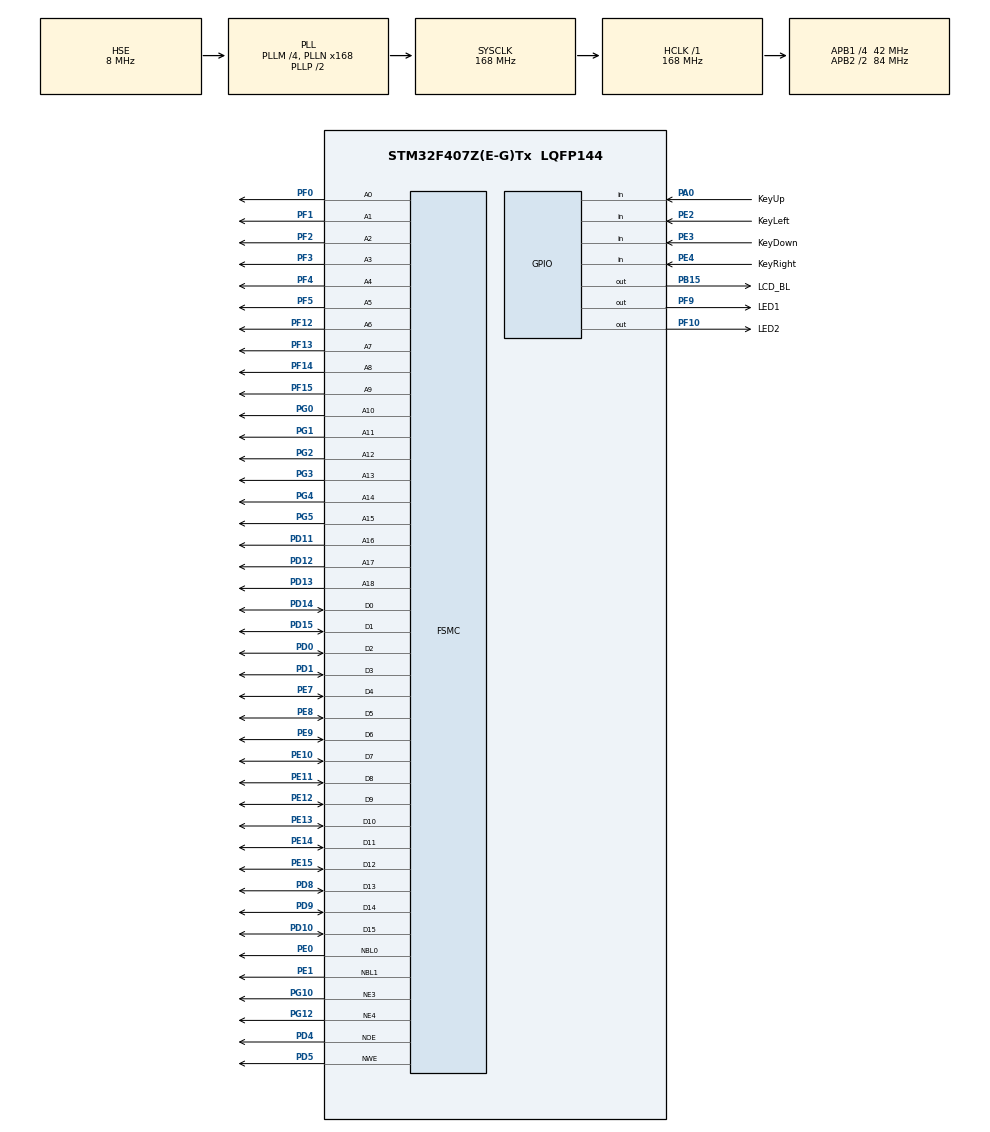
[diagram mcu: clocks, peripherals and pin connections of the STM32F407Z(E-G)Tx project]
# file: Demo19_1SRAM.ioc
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FSMC.AddressSetupTime3=0
FSMC.AddressSetupTime4=2
FSMC.BusTurnAroundDuration3=0
FSMC.BusTurnAroundDuration4=0
FSMC.DataSetupTime3=8
FSMC.DataSetupTime4=16
FSMC.ExtendedAddressSetupTime4=4
FSMC.ExtendedBusTurnAroundDuration4=0
FSMC.ExtendedDataSetupTime4=9
FSMC.ExtendedMode4=FSMC_EXTENDED_MODE_ENABLE
FSMC.WriteOperation3=FSMC_WRITE_OPERATION_ENABLE
Mcu.Family=STM32F4
Mcu.Name=STM32F407Z(E-G)Tx
Mcu.Package=LQFP144
NVIC.PriorityGroup=NVIC_PRIORITYGROUP_4
PA0-WKUP.GPIO_Label=KeyUp
PA0-WKUP.GPIO_PuPd=GPIO_PULLDOWN
PA0-WKUP.Signal=GPIO_Input
PA13.Mode=Serial_Wire
PA13.Signal=SYS_JTMS-SWDIO
PA14.Mode=Serial_Wire
PA14.Signal=SYS_JTCK-SWCLK
PB15.GPIO_Label=LCD_BL
PB15.PinState=GPIO_PIN_RESET
PB15.Signal=GPIO_Output
PD0.Signal=FSMC_D2_DA2
PD1.Signal=FSMC_D3_DA3
PD10.Signal=FSMC_D15_DA15
PD11.Signal=FSMC_A16_CLE
PD12.Signal=FSMC_A17_ALE
PD13.Signal=FSMC_A18
PD14.Signal=FSMC_D0_DA0
PD15.Signal=FSMC_D1_DA1
PD4.Signal=FSMC_NOE
PD5.Signal=FSMC_NWE
PD8.Signal=FSMC_D13_DA13
PD9.Signal=FSMC_D14_DA14
PE0.Signal=FSMC_NBL0
PE1.Signal=FSMC_NBL1
PE10.Signal=FSMC_D7_DA7
PE11.Signal=FSMC_D8_DA8
PE12.Signal=FSMC_D9_DA9
PE13.Signal=FSMC_D10_DA10
PE14.Signal=FSMC_D11_DA11
PE15.Signal=FSMC_D12_DA12
PE2.GPIO_Label=KeyLeft
PE2.GPIO_PuPd=GPIO_PULLUP
PE2.Signal=GPIO_Input
PE3.GPIO_Label=KeyDown
PE3.GPIO_PuPd=GPIO_PULLUP
PE3.Signal=GPIO_Input
PE4.GPIO_Label=KeyRight
PE4.GPIO_PuPd=GPIO_PULLUP
PE4.Signal=GPIO_Input
PE7.Signal=FSMC_D4_DA4
PE8.Signal=FSMC_D5_DA5
PE9.Signal=FSMC_D6_DA6
PF0.Signal=FSMC_A0
PF1.Signal=FSMC_A1
PF10.GPIO_Label=LED2
PF10.Signal=GPIO_Output
PF12.Signal=FSMC_A6
PF13.Signal=FSMC_A7
PF14.Signal=FSMC_A8
PF15.Signal=FSMC_A9
PF2.Signal=FSMC_A2
PF3.Signal=FSMC_A3
PF4.Signal=FSMC_A4
PF5.Signal=FSMC_A5
PF9.GPIO_Label=LED1
PF9.Signal=GPIO_Output
PG0.Signal=FSMC_A10
PG1.Signal=FSMC_A11
PG10.Mode=NorPsramChipSelect3_3
PG10.Signal=FSMC_NE3
PG12.Mode=NorPsramChipSelect4_4
PG12.Signal=FSMC_NE4
PG2.Signal=FSMC_A12
PG3.Signal=FSMC_A13
PG4.Signal=FSMC_A14
PG5.Signal=FSMC_A15
PH0-OSC_IN.Mode=HSE-External-Oscillator
PH0-OSC_IN.Signal=RCC_OSC_IN
PH1-OSC_OUT.Mode=HSE-External-Oscillator
PH1-OSC_OUT.Signal=RCC_OSC_OUT
ProjectManager.HeapSize=0x200
ProjectManager.StackSize=0x400
ProjectManager.TargetToolchain=STM32CubeIDE
RCC.48MHZClocksFreq_Value=48000000
RCC.AHBFreq_Value=168000000
RCC.APB1CLKDivider=RCC_HCLK_DIV4
RCC.APB1Freq_Value=42000000
RCC.APB1TimFreq_Value=84000000
RCC.APB2CLKDivider=RCC_HCLK_DIV2
RCC.APB2Freq_Value=84000000
RCC.APB2TimFreq_Value=168000000
RCC.CortexFreq_Value=168000000
RCC.FLatency=FLASH_LATENCY_5
RCC.HCLKFreq_Value=168000000
RCC.HSE_VALUE=8000000
RCC.HSI_VALUE=16000000
RCC.LSE_VALUE=32768
RCC.PLLM=4
RCC.PLLN=168
RCC.PLLQ=7
RCC.PLLSourceVirtual=RCC_PLLSOURCE_HSE
RCC.SYSCLKFreq_VALUE=168000000
RCC.SYSCLKSource=RCC_SYSCLKSOURCE_PLLCLK
RCC.VCOOutputFreq_Value=336000000
SH.FSMC_A0.0=FSMC_A0,19b-a3
SH.FSMC_A1.0=FSMC_A1,19b-a3
SH.FSMC_A10.0=FSMC_A10,19b-a3
SH.FSMC_A11.0=FSMC_A11,19b-a3
SH.FSMC_A12.0=FSMC_A12,19b-a3
SH.FSMC_A13.0=FSMC_A13,19b-a3
SH.FSMC_A14.0=FSMC_A14,19b-a3
SH.FSMC_A15.0=FSMC_A15,19b-a3
SH.FSMC_A16_CLE.0=FSMC_A16,19b-a3
SH.FSMC_A17_ALE.0=FSMC_A17,19b-a3
SH.FSMC_A18.0=FSMC_A18,19b-a3
SH.FSMC_A2.0=FSMC_A2,19b-a3
SH.FSMC_A3.0=FSMC_A3,19b-a3
SH.FSMC_A4.0=FSMC_A4,19b-a3
SH.FSMC_A5.0=FSMC_A5,19b-a3
SH.FSMC_A6.0=FSMC_A6,A6_4
SH.FSMC_A6.1=FSMC_A6,19b-a3
SH.FSMC_A7.0=FSMC_A7,19b-a3
SH.FSMC_A8.0=FSMC_A8,19b-a3
SH.FSMC_A9.0=FSMC_A9,19b-a3
SH.FSMC_D0_DA0.0=FSMC_D0,16b-d4
SH.FSMC_D0_DA0.1=FSMC_D0,16b-d3
SH.FSMC_D10_DA10.0=FSMC_D10,16b-d4
SH.FSMC_D10_DA10.1=FSMC_D10,16b-d3
SH.FSMC_D11_DA11.0=FSMC_D11,16b-d4
SH.FSMC_D11_DA11.1=FSMC_D11,16b-d3
SH.FSMC_D12_DA12.0=FSMC_D12,16b-d4
SH.FSMC_D12_DA12.1=FSMC_D12,16b-d3
SH.FSMC_D13_DA13.0=FSMC_D13,16b-d4
SH.FSMC_D13_DA13.1=FSMC_D13,16b-d3
SH.FSMC_D14_DA14.0=FSMC_D14,16b-d4
SH.FSMC_D14_DA14.1=FSMC_D14,16b-d3
SH.FSMC_D15_DA15.0=FSMC_D15,16b-d4
SH.FSMC_D15_DA15.1=FSMC_D15,16b-d3
SH.FSMC_D1_DA1.0=FSMC_D1,16b-d4
SH.FSMC_D1_DA1.1=FSMC_D1,16b-d3
SH.FSMC_D2_DA2.0=FSMC_D2,16b-d4
SH.FSMC_D2_DA2.1=FSMC_D2,16b-d3
SH.FSMC_D3_DA3.0=FSMC_D3,16b-d4
SH.FSMC_D3_DA3.1=FSMC_D3,16b-d3
SH.FSMC_D4_DA4.0=FSMC_D4,16b-d4
SH.FSMC_D4_DA4.1=FSMC_D4,16b-d3
SH.FSMC_D5_DA5.0=FSMC_D5,16b-d4
SH.FSMC_D5_DA5.1=FSMC_D5,16b-d3
SH.FSMC_D6_DA6.0=FSMC_D6,16b-d4
SH.FSMC_D6_DA6.1=FSMC_D6,16b-d3
SH.FSMC_D7_DA7.0=FSMC_D7,16b-d4
SH.FSMC_D7_DA7.1=FSMC_D7,16b-d3
SH.FSMC_D8_DA8.0=FSMC_D8,16b-d4
SH.FSMC_D8_DA8.1=FSMC_D8,16b-d3
SH.FSMC_D9_DA9.0=FSMC_D9,16b-d4
SH.FSMC_D9_DA9.1=FSMC_D9,16b-d3
SH.FSMC_NBL0.0=FSMC_NBL0,2ByteEnable3
SH.FSMC_NBL1.0=FSMC_NBL1,2ByteEnable3
SH.FSMC_NOE.0=FSMC_NOE,Lcd4
SH.FSMC_NOE.1=FSMC_NOE,Sram3
SH.FSMC_NWE.0=FSMC_NWE,Lcd4
SH.FSMC_NWE.1=FSMC_NWE,Sram3
VP_RNG_VS_RNG.Mode=RNG_Activate
board=custom

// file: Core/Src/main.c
/* USER CODE BEGIN Header */
/**
  ******************************************************************************
  * @file           : main.c
  * @brief          : Main program body
  ******************************************************************************
  * @attention
  *
  * Copyright (c) 2023 STMicroelectronics.
  * All rights reserved.
  *
  * This software is licensed under terms that can be found in the LICENSE file
  * in the root directory of this software component.
  * If no LICENSE file comes with this software, it is provided AS-IS.
  *
  ******************************************************************************
  */
/* USER CODE END Header */
#include "main.h"
#include "rng.h"
#include "gpio.h"
#include "fsmc.h"

/* USER CODE BEGIN Includes */
#include <string.h>
#include <stdio.h>
#include "lcd.h"
#include "keyled.h"
/* USER CODE END Includes */

/* USER CODE BEGIN PD */
#define SRAM_ADDR_BEGIN	0x68000000UL
#define SRAM_ADDR_HALF	0x68080000UL
#define SRAM_ADDR_END	0x680FFFFFUL
/* USER CODE END PD */

void SystemClock_Config(void);

int main(void)
{

  /* MCU Configuration--------------------------------------------------------*/

  /* Reset of all peripherals, Initializes the Flash interface and the Systick. */
  HAL_Init();

  /* Configure the system clock */
  SystemClock_Config();

  /* Initialize all configured peripherals */
  MX_GPIO_Init();
  MX_FSMC_Init();
  MX_RNG_Init();
  /* USER CODE BEGIN 2 */
  lcd_init();
  lcd_show_str(10, 0 * 30 + 10, 24, "Demo19_1: External SRAM", RED);
  lcd_show_str(10, 1 * 30 + 10, 24, "Read/Write SRAM by polling", RED);

  lcd_show_str(10, 3 * 30 + 10, 24, "[1]KeyUp    = Write by HAL functions", RED);
  lcd_show_str(10, 4 * 30 + 10, 24, "[2]KeyDown  = Read by HAL functions", RED);
  lcd_show_str(10, 5 * 30 + 10, 24, "[3]KeyLeft  = Write by pointer", RED);
  lcd_show_str(10, 6 * 30 + 10, 24, "[4]KeyRight = Read by pointer", RED);
  /* USER CODE END 2 */

  /* Infinite loop */
  /* USER CODE BEGIN WHILE */
  while (1)
  {
	  KEYS curkey = ScanPressedKey(KEY_WAIT_ALWAYS);
	  switch (curkey) {
	  case KEY_UP:
		  lcd_fill(10, 7 * 30 + 10, 479, 14 * 30 + 10, WHITE);
		  SRAM_WriteByFunc();
		  break;
	  case KEY_DOWN:
		  lcd_fill(10, 7 * 30 + 10, 479, 14 * 30 + 10, WHITE);
		  SRAM_ReadByFunc();
		  break;
	  case KEY_LEFT:
		  lcd_fill(10, 7 * 30 + 10, 479, 14 * 30 + 10, WHITE);
		  SRAM_WriteByPointer();
		  break;
	  case KEY_RIGHT:
		  lcd_fill(10, 7 * 30 + 10, 479, 14 * 30 + 10, WHITE);
		  SRAM_ReadByPointer();
		  break;
	  }
	  lcd_show_str(10, 13 * 30 + 10, 24, "** Reselect menu or reset **", RED);
	  HAL_Delay(500);
    /* USER CODE END WHILE */

  }
}

void SystemClock_Config(void)
{
  RCC_OscInitTypeDef RCC_OscInitStruct = {0};
  RCC_ClkInitTypeDef RCC_ClkInitStruct = {0};

  /** Configure the main internal regulator output voltage
  */
  __HAL_RCC_PWR_CLK_ENABLE();
  __HAL_PWR_VOLTAGESCALING_CONFIG(PWR_REGULATOR_VOLTAGE_SCALE1);

  /** Initializes the RCC Oscillators according to the specified parameters
  * in the RCC_OscInitTypeDef structure.
  */
  RCC_OscInitStruct.OscillatorType = RCC_OSCILLATORTYPE_HSE;
  RCC_OscInitStruct.HSEState = RCC_HSE_ON;
  RCC_OscInitStruct.PLL.PLLState = RCC_PLL_ON;
  RCC_OscInitStruct.PLL.PLLSource = RCC_PLLSOURCE_HSE;
  RCC_OscInitStruct.PLL.PLLM = 4;
  RCC_OscInitStruct.PLL.PLLN = 168;
  RCC_OscInitStruct.PLL.PLLP = RCC_PLLP_DIV2;
  RCC_OscInitStruct.PLL.PLLQ = 7;
  if (HAL_RCC_OscConfig(&RCC_OscInitStruct) != HAL_OK)
  {
    Error_Handler();
  }

  /** Initializes the CPU, AHB and APB buses clocks
  */
  RCC_ClkInitStruct.ClockType = RCC_CLOCKTYPE_HCLK|RCC_CLOCKTYPE_SYSCLK
                              |RCC_CLOCKTYPE_PCLK1|RCC_CLOCKTYPE_PCLK2;
  RCC_ClkInitStruct.SYSCLKSource = RCC_SYSCLKSOURCE_PLLCLK;
  RCC_ClkInitStruct.AHBCLKDivider = RCC_SYSCLK_DIV1;
  RCC_ClkInitStruct.APB1CLKDivider = RCC_HCLK_DIV4;
  RCC_ClkInitStruct.APB2CLKDivider = RCC_HCLK_DIV2;

  if (HAL_RCC_ClockConfig(&RCC_ClkInitStruct, FLASH_LATENCY_5) != HAL_OK)
  {
    Error_Handler();
  }
}

/* USER CODE BEGIN 4 */
void SRAM_WriteByFunc() {
	uint32_t *pAddr = (uint32_t *)(SRAM_ADDR_BEGIN);
	uint8_t strIn[] = "Moment in UPC";
	if (HAL_SRAM_Write_8b(&hsram3, pAddr, strIn, sizeof(strIn)) == HAL_OK) {
		lcd_show_str(10, 8 * 30 + 10, 24, "Write string at 0x6800 0000", RED);
		lcd_show_str(10, 9 * 30 + 10, 24, strIn, RED);
	}

	uint32_t random32bit;
	pAddr = (uint32_t *)(SRAM_ADDR_BEGIN + 0x100);
	HAL_RNG_GenerateRandomNumber(&hrng, &random32bit);
	if (HAL_SRAM_Write_32b(&hsram3, pAddr, &random32bit, 1) == HAL_OK) {
		lcd_show_str(10, 10 * 30 + 10, 24, "Write 32b random num at 0x6800 0100", RED);
		uint8_t tempStr[30];
		sprintf(tempStr, "0x%08X", random32bit);
		lcd_show_str(10, 11 * 30 + 10, 24, tempStr, RED);

	}
}

void SRAM_ReadByFunc() {
	uint32_t *pAddr = (uint32_t *)(SRAM_ADDR_BEGIN);
	uint8_t strOut[30];
	uint16_t dataLen = 30;
	if (HAL_SRAM_Read_8b(&hsram3, pAddr, &strOut, dataLen) == HAL_OK) {
		lcd_show_str(10, 8 * 30 + 10, 24, "Read string at 0x6800 0000 ", RED);
		lcd_show_str(10, 9 * 30 + 10, 24, strOut, RED);
	}

	uint32_t read_32b_num = 0;
	pAddr = (uint32_t *)(SRAM_ADDR_BEGIN + 0x100);
	if (HAL_SRAM_Read_32b(&hsram3, pAddr, &read_32b_num, 1) == HAL_OK) {
		lcd_show_str(10, 10 * 30 + 10, 24, "Read 32b random num at 0x6800 0100 ", RED);
		uint8_t tempStr[30];
		sprintf(tempStr, "0x%08X", read_32b_num);
		lcd_show_str(10, 11 * 30 + 10, 24, tempStr, RED);
	}
}

void SRAM_WriteByPointer() {
	lcd_show_str(10, 8 * 30 + 10, 24, "Write five uint16_t numbers", RED);
	lcd_show_str(10, 9 * 30 + 10, 24, "start from 0x68080000", RED);

	uint16_t num_to_write = 1000;
	uint16_t *pAddr_16b = (uint16_t *)(SRAM_ADDR_HALF);

	uint8_t tempStr[30];
	sprintf(tempStr, "");

	for (uint8_t i = 0; i < 5; ++i) {
		num_to_write += 5;
		*pAddr_16b = num_to_write;
		pAddr_16b++;
		sprintf(tempStr, "%s%d ", tempStr, num_to_write);
	}
	lcd_show_str(10, 10 * 30 + 10, 24, tempStr, RED);
}

void SRAM_ReadByPointer() {
	lcd_show_str(10, 8 * 30 + 10, 24, "Read five uint16_t numbers ", RED);
	lcd_show_str(10, 9 * 30 + 10, 24, "start from 0x68080000", RED);

	uint16_t num_to_read = 0;
	uint16_t *pAddr_16b = (uint16_t *)(SRAM_ADDR_HALF);
	uint8_t tempStr[30];
	sprintf(tempStr, "");
	for (uint8_t i = 0; i < 5; ++i) {
		num_to_read = *pAddr_16b;
		pAddr_16b++;
		sprintf(tempStr, "%s%d ", tempStr, num_to_read);
	}
	lcd_show_str(10, 10 * 30 + 10, 24, tempStr, RED);
}
/* USER CODE END 4 */

void Error_Handler(void)
{
  __disable_irq();
  while (1)
  {
  }
}
